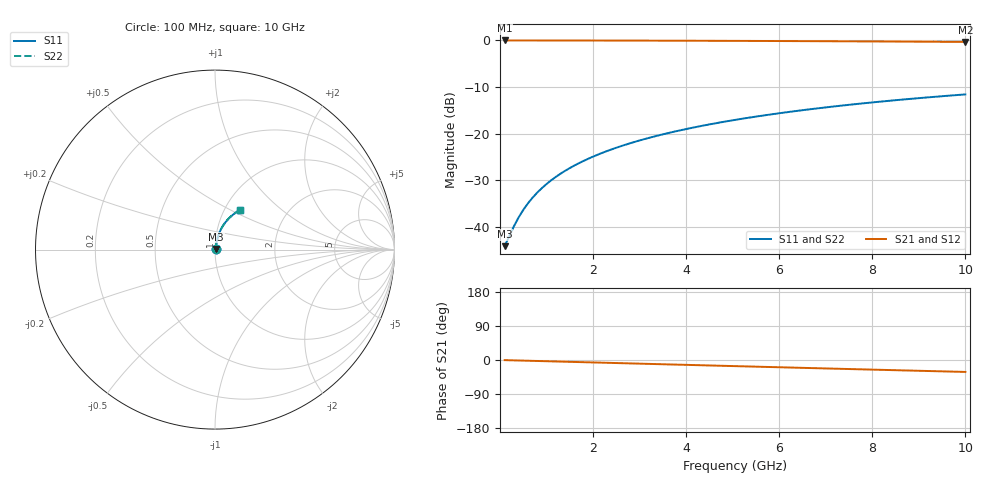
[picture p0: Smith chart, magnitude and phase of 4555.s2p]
# Hz S RI R 50.00
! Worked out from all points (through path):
!   100 points, 100 MHz to 10 GHz, reference 50 ohm
!   highest |S21| = -0.05 dB at 100 MHz (marker M1); lowest = -0.4 dB at 10 GHz (marker M2)
!   group delay of S21, straight-line fit = 8.76 ps
!   lowest |S11| = -44.1 dB at 100 MHz (marker M3), VSWR 1.01, Z = 50.6 + j0.283 ohm
!   |S11| at or under -10 dB: start of sweep to end of sweep
!   |S22| runs from -44.1 to -11.6 dB; largest |S21 - S12| = 0
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1e8  0.00557 0.0028  0.9944 -0.00558  0.9944 -0.00558  0.00557 0.0028
3e8  0.00576 0.00839  0.9942 -0.0168  0.9942 -0.0168  0.00576 0.00839
4e8  0.00589 0.0112  0.994 -0.0223  0.994 -0.0223  0.00589 0.0112
5e8  0.00605 0.014  0.9938 -0.0279  0.9938 -0.0279  0.00605 0.014
6e8  0.00624 0.0168  0.9936 -0.0335  0.9936 -0.0335  0.00624 0.0168
7e8  0.00646 0.0196  0.9933 -0.0391  0.9933 -0.0391  0.00646 0.0196
8e8  0.0067 0.0223  0.993 -0.0446  0.993 -0.0446  0.0067 0.0223
1e9  0.00729 0.0279  0.9923 -0.0558  0.9923 -0.0558  0.00729 0.0279
1.2e9  0.008 0.0334  0.9914 -0.0669  0.9914 -0.0669  0.008 0.0334
1.5e9  0.0093 0.0417  0.9898 -0.0835  0.9898 -0.0835  0.0093 0.0417
1.8e9  0.0109 0.05  0.9878 -0.1001  0.9878 -0.1001  0.0109 0.05
2.1e9  0.0127 0.0581  0.9855 -0.1166  0.9855 -0.1166  0.0127 0.0581
2.5e9  0.0156 0.0689  0.9819 -0.1386  0.9819 -0.1386  0.0156 0.0689
2.9e9  0.0189 0.0795  0.9777 -0.1603  0.9777 -0.1603  0.0189 0.0795
3.4e9  0.0238 0.0925  0.9716 -0.1873  0.9716 -0.1873  0.0238 0.0925
4.2e9  0.0329 0.1126  0.96 -0.2298  0.96 -0.2298  0.0329 0.1126
5.1e9  0.0453 0.1341  0.9444 -0.2764  0.9444 -0.2764  0.0453 0.1341
5.9e9  0.058 0.152  0.9282 -0.3167  0.9282 -0.3167  0.058 0.152
6.7e9  0.072 0.1685  0.9101 -0.3556  0.9101 -0.3556  0.072 0.1685
7.5e9  0.0874 0.1837  0.8901 -0.3932  0.8901 -0.3932  0.0874 0.1837
8.4e9  0.1061 0.199  0.8657 -0.4338  0.8657 -0.4338  0.1061 0.199
1e10  0.1421 0.2213  0.8177 -0.5009  0.8177 -0.5009  0.1421 0.2213
